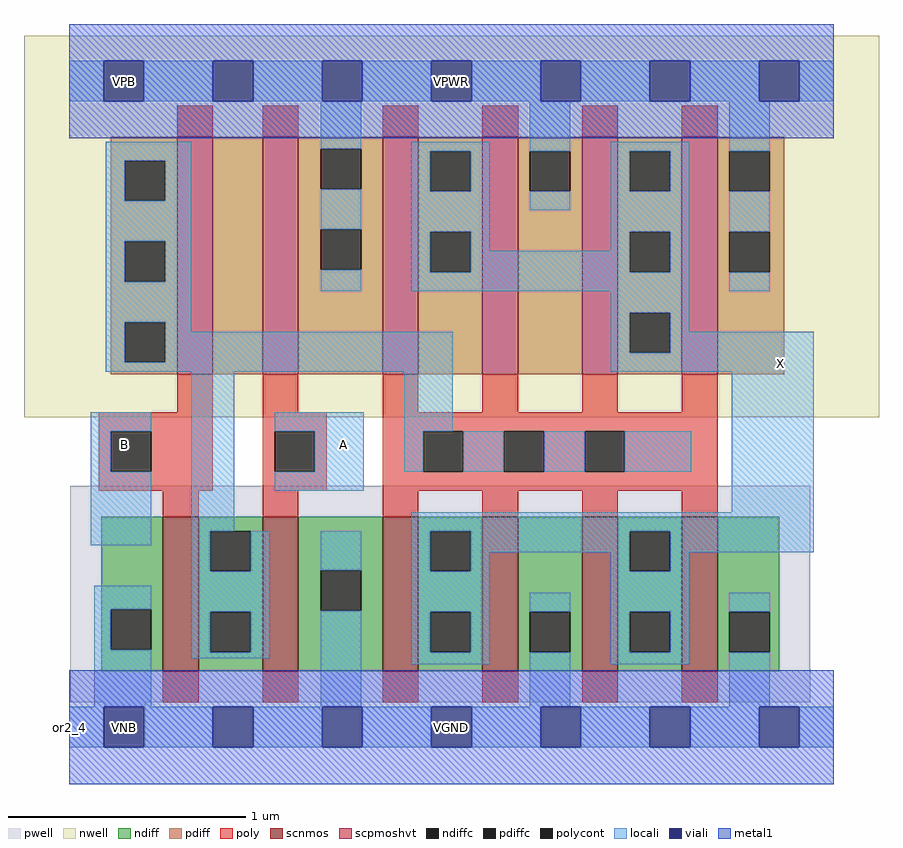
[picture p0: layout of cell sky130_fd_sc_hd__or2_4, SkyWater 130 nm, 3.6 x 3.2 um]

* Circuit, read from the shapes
.subckt sky130_fd_sc_hd__or2_4 A B VGND VNB VPB VPWR X
XM1 n1 B VGND VNB sky130_fd_pr__nfet_01v8 w=0.65 l=0.15
XM2 VGND A n1 VNB sky130_fd_pr__nfet_01v8 w=0.65 l=0.15
XM3 X n1 VGND VNB sky130_fd_pr__nfet_01v8 w=0.65 l=0.15 m=4
XM4 n2 B n1 VPB sky130_fd_pr__pfet_01v8_hvt w=1 l=0.15
XM5 VPWR A n2 VPB sky130_fd_pr__pfet_01v8_hvt w=1 l=0.15
XM6 X n1 VPWR VPB sky130_fd_pr__pfet_01v8_hvt w=1 l=0.15 m=4
.ends

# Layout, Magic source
magic
tech sky130B
magscale 1 2
<< nwell >>
rect -38 261 682 582
<< pwell >>
rect 1 21 624 203
rect 30 -17 64 21
<< scnmos >>
rect 79 47 109 177
rect 163 47 193 177
rect 264 47 294 177
rect 348 47 378 177
rect 432 47 462 177
rect 516 47 546 177
<< scpmoshvt >>
rect 91 297 121 497
rect 163 297 193 497
rect 264 297 294 497
rect 348 297 378 497
rect 432 297 462 497
rect 516 297 546 497
<< ndiff >>
rect 27 99 79 177
rect 27 65 35 99
rect 69 65 79 99
rect 27 47 79 65
rect 109 165 163 177
rect 109 131 119 165
rect 153 131 163 165
rect 109 97 163 131
rect 109 63 119 97
rect 153 63 163 97
rect 109 47 163 63
rect 193 132 264 177
rect 193 98 212 132
rect 246 98 264 132
rect 193 47 264 98
rect 294 165 348 177
rect 294 131 304 165
rect 338 131 348 165
rect 294 97 348 131
rect 294 63 304 97
rect 338 63 348 97
rect 294 47 348 63
rect 378 97 432 177
rect 378 63 388 97
rect 422 63 432 97
rect 378 47 432 63
rect 462 165 516 177
rect 462 131 472 165
rect 506 131 516 165
rect 462 97 516 131
rect 462 63 472 97
rect 506 63 516 97
rect 462 47 516 63
rect 546 97 598 177
rect 546 63 556 97
rect 590 63 598 97
rect 546 47 598 63
<< pdiff >>
rect 35 477 91 497
rect 35 443 47 477
rect 81 443 91 477
rect 35 409 91 443
rect 35 375 47 409
rect 81 375 91 409
rect 35 341 91 375
rect 35 307 47 341
rect 81 307 91 341
rect 35 297 91 307
rect 121 297 163 497
rect 193 487 264 497
rect 193 453 212 487
rect 246 453 264 487
rect 193 419 264 453
rect 193 385 212 419
rect 246 385 264 419
rect 193 297 264 385
rect 294 485 348 497
rect 294 451 304 485
rect 338 451 348 485
rect 294 417 348 451
rect 294 383 304 417
rect 338 383 348 417
rect 294 297 348 383
rect 378 485 432 497
rect 378 451 388 485
rect 422 451 432 485
rect 378 297 432 451
rect 462 485 516 497
rect 462 451 472 485
rect 506 451 516 485
rect 462 417 516 451
rect 462 383 472 417
rect 506 383 516 417
rect 462 349 516 383
rect 462 315 472 349
rect 506 315 516 349
rect 462 297 516 315
rect 546 485 602 497
rect 546 451 556 485
rect 590 451 602 485
rect 546 417 602 451
rect 546 383 556 417
rect 590 383 602 417
rect 546 297 602 383
<< ndiffc >>
rect 35 65 69 99
rect 119 131 153 165
rect 119 63 153 97
rect 212 98 246 132
rect 304 131 338 165
rect 304 63 338 97
rect 388 63 422 97
rect 472 131 506 165
rect 472 63 506 97
rect 556 63 590 97
<< pdiffc >>
rect 47 443 81 477
rect 47 375 81 409
rect 47 307 81 341
rect 212 453 246 487
rect 212 385 246 419
rect 304 451 338 485
rect 304 383 338 417
rect 388 451 422 485
rect 472 451 506 485
rect 472 383 506 417
rect 472 315 506 349
rect 556 451 590 485
rect 556 383 590 417
<< poly >>
rect 91 497 121 523
rect 163 497 193 523
rect 264 497 294 523
rect 348 497 378 523
rect 432 497 462 523
rect 516 497 546 523
rect 91 265 121 297
rect 25 249 121 265
rect 25 215 35 249
rect 69 215 121 249
rect 25 199 121 215
rect 163 265 193 297
rect 264 265 294 297
rect 348 265 378 297
rect 432 265 462 297
rect 516 265 546 297
rect 163 249 217 265
rect 163 215 173 249
rect 207 215 217 249
rect 163 199 217 215
rect 264 249 546 265
rect 264 215 298 249
rect 332 215 366 249
rect 400 215 434 249
rect 468 215 546 249
rect 264 199 546 215
rect 79 177 109 199
rect 163 177 193 199
rect 264 177 294 199
rect 348 177 378 199
rect 432 177 462 199
rect 516 177 546 199
rect 79 21 109 47
rect 163 21 193 47
rect 264 21 294 47
rect 348 21 378 47
rect 432 21 462 47
rect 516 21 546 47
<< polycont >>
rect 35 215 69 249
rect 173 215 207 249
rect 298 215 332 249
rect 366 215 400 249
rect 434 215 468 249
<< locali >>
rect 0 527 29 561
rect 63 527 121 561
rect 155 527 213 561
rect 247 527 305 561
rect 339 527 397 561
rect 431 527 489 561
rect 523 527 581 561
rect 615 527 644 561
rect 31 477 103 493
rect 31 443 47 477
rect 81 443 103 477
rect 31 409 103 443
rect 31 375 47 409
rect 81 375 103 409
rect 31 341 103 375
rect 212 487 246 527
rect 212 419 246 453
rect 212 367 246 385
rect 288 485 354 493
rect 288 451 304 485
rect 338 451 354 485
rect 288 417 354 451
rect 388 485 422 527
rect 388 435 422 451
rect 456 485 522 493
rect 456 451 472 485
rect 506 451 522 485
rect 288 383 304 417
rect 338 401 354 417
rect 456 417 522 451
rect 456 401 472 417
rect 338 383 472 401
rect 506 383 522 417
rect 288 367 522 383
rect 556 485 590 527
rect 556 417 590 451
rect 556 367 590 383
rect 31 307 47 341
rect 81 333 103 341
rect 456 349 522 367
rect 81 307 323 333
rect 31 299 323 307
rect 456 315 472 349
rect 506 333 522 349
rect 506 315 627 333
rect 456 299 627 315
rect 18 249 69 265
rect 18 215 35 249
rect 18 153 69 215
rect 103 165 139 299
rect 173 249 248 265
rect 207 215 248 249
rect 282 249 323 299
rect 282 215 298 249
rect 332 215 366 249
rect 400 215 434 249
rect 468 215 524 249
rect 173 199 248 215
rect 558 181 627 299
rect 288 165 627 181
rect 103 131 119 165
rect 153 131 169 165
rect 21 99 69 119
rect 21 65 35 99
rect 21 17 69 65
rect 103 97 169 131
rect 103 63 119 97
rect 153 63 169 97
rect 103 58 169 63
rect 212 132 246 165
rect 212 17 246 98
rect 288 131 304 165
rect 338 147 472 165
rect 338 131 354 147
rect 288 97 354 131
rect 456 131 472 147
rect 506 147 627 165
rect 506 131 522 147
rect 288 63 304 97
rect 338 63 354 97
rect 288 53 354 63
rect 388 97 422 113
rect 388 17 422 63
rect 456 97 522 131
rect 456 63 472 97
rect 506 63 522 97
rect 456 53 522 63
rect 556 97 590 113
rect 556 17 590 63
rect 0 -17 29 17
rect 63 -17 121 17
rect 155 -17 213 17
rect 247 -17 305 17
rect 339 -17 397 17
rect 431 -17 489 17
rect 523 -17 581 17
rect 615 -17 644 17
<< viali >>
rect 29 527 63 561
rect 121 527 155 561
rect 213 527 247 561
rect 305 527 339 561
rect 397 527 431 561
rect 489 527 523 561
rect 581 527 615 561
rect 29 -17 63 17
rect 121 -17 155 17
rect 213 -17 247 17
rect 305 -17 339 17
rect 397 -17 431 17
rect 489 -17 523 17
rect 581 -17 615 17
<< metal1 >>
rect 0 561 644 592
rect 0 527 29 561
rect 63 527 121 561
rect 155 527 213 561
rect 247 527 305 561
rect 339 527 397 561
rect 431 527 489 561
rect 523 527 581 561
rect 615 527 644 561
rect 0 496 644 527
rect 0 17 644 48
rect 0 -17 29 17
rect 63 -17 121 17
rect 155 -17 213 17
rect 247 -17 305 17
rect 339 -17 397 17
rect 431 -17 489 17
rect 523 -17 581 17
rect 615 -17 644 17
rect 0 -48 644 -17
<< labels >>
flabel locali s 582 289 616 323 0 FreeSans 200 0 0 0 X
port 7 nsew signal output
flabel locali s 214 221 248 255 0 FreeSans 200 0 0 0 A
port 1 nsew signal input
flabel locali s 30 221 64 255 0 FreeSans 200 0 0 0 B
port 2 nsew signal input
flabel pwell s 30 -17 64 17 0 FreeSans 200 0 0 0 VNB
port 4 nsew ground bidirectional
flabel nwell s 30 527 64 561 0 FreeSans 200 0 0 0 VPB
port 5 nsew power bidirectional
flabel metal1 s 30 -17 64 17 0 FreeSans 200 0 0 0 VGND
port 3 nsew ground bidirectional abutment
flabel metal1 s 30 527 64 561 0 FreeSans 200 0 0 0 VPWR
port 6 nsew power bidirectional abutment
rlabel comment s 0 0 0 0 4 or2_4
rlabel metal1 s 0 -48 644 48 1 VGND
port 3 nsew ground bidirectional abutment
rlabel metal1 s 0 496 644 592 1 VPWR
port 6 nsew power bidirectional abutment
<< properties >>
string FIXED_BBOX 0 0 644 544
string GDS_END 994424
string GDS_FILE $PDKPATH/libs.ref/sky130_fd_sc_hd/gds/sky130_fd_sc_hd.gds
string GDS_START 988722
string LEFclass CORE
string LEFsite unithd
string LEFsymmetry X Y R90
string path 0.000 0.000 3.220 0.000 
<< end >>
